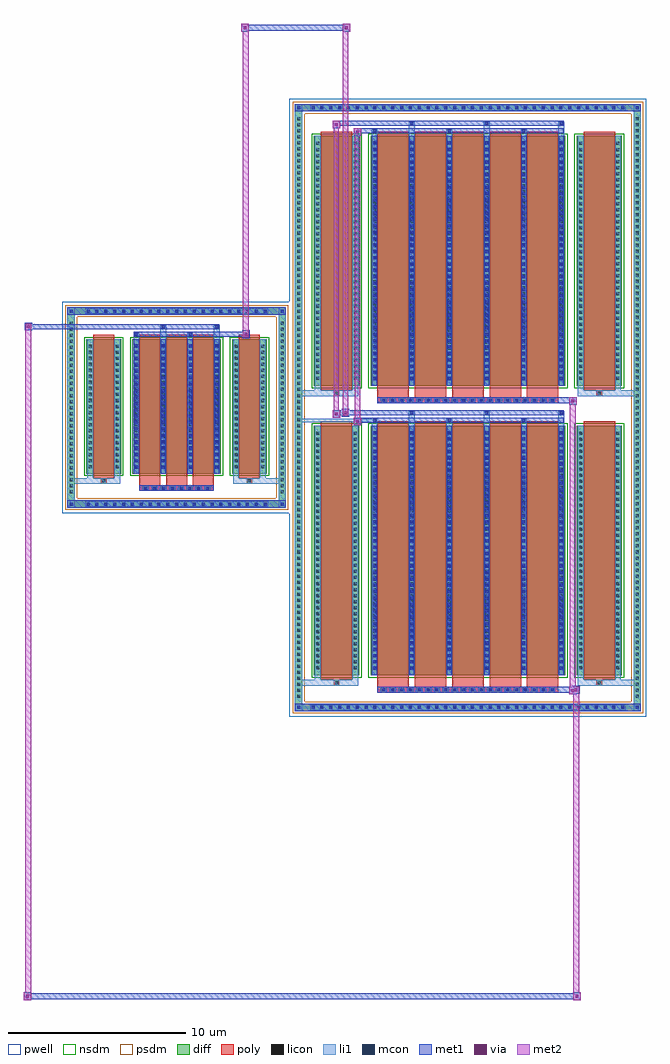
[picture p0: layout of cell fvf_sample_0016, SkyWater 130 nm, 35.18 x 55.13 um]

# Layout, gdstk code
import gdstk
lib = gdstk.Library(unit=1e-6, precision=1e-09)
def R(c, l, rs):  # rectangles x0, y0, x1, y1
    for r in rs: c.add(gdstk.rectangle(r[:2], r[2:], *l))
def A(c, l, x, y, w, h, nx, ny, dx, dy):  # array of equal rectangles
    R(c, l, [(x+i*dx, y+j*dy, x+i*dx+w, y+j*dy+h) for i in range(nx) for j in range(ny)])
def P(c, l, *ps):  # polygons
    for p in ps: c.add(gdstk.Polygon(p, *l))
pwell = (64, 44)
diff = (65, 20)
poly = (66, 20)
licon = (66, 44)
li1 = (67, 20)
mcon = (67, 44)
met1 = (68, 20)
via = (68, 44)
met2 = (69, 20)
nsdm = (93, 44)
psdm = (94, 20)

fvf_sample_0016 = lib.new_cell('fvf_sample_0016')
R(fvf_sample_0016, pwell, [(6.375,-17.456,26.535,17.456), (-6.475,-5.965,6.475,5.965)])
A(fvf_sample_0016, diff, 7.5, -17.146, 0.41, 0.41, 36, 2, 0.5, 33.882)
A(fvf_sample_0016, diff, 6.685, -16.525, 0.41, 0.41, 1, 97, 0, 0.34)
A(fvf_sample_0016, diff, 25.815, -16.525, 0.41, 0.41, 1, 97, 0, 0.34)
A(fvf_sample_0016, diff, -5.205, -5.655, 0.41, 0.41, 21, 2, 0.5, 10.9)
A(fvf_sample_0016, diff, -6.165, -4.965, 0.41, 0.41, 1, 29, 0, 0.34)
A(fvf_sample_0016, diff, 5.755, -4.965, 0.41, 0.41, 1, 29, 0, 0.34)
R(fvf_sample_0016, diff, [(7.5,-17.146,25.41,-16.736), (6.685,-16.525,7.095,16.525), (25.815,-16.525,26.225,16.525), (7.755,-15.125,10.315,-1.015), (10.955,-15.125,21.955,-1.015), (22.595,-15.125,25.155,-1.015), (-5.205,-5.655,5.205,-5.245), (-6.165,-4.965,-5.755,4.965), (5.755,-4.965,6.165,4.965), (-5.095,-3.734,-3.133,3.85), (-2.493,-3.734,2.493,3.85), (3.133,-3.734,5.095,3.85), (7.755,1.231,10.315,15.341), (10.955,1.231,21.955,15.341), (22.595,1.231,25.155,15.341), (-5.205,5.245,5.205,5.655), (7.5,16.736,25.41,17.146)])
P(fvf_sample_0016, diff, [(6.165,5.655),(-6.165,5.655),(-6.165,-5.245),(-5.755,-5.245),(-5.755,5.245),(5.755,5.245),(5.755,-5.245),(-5.755,-5.245),(-6.165,-5.245),(-6.165,-5.655),(6.165,-5.655)],
  [(26.225,17.146),(6.685,17.146),(6.685,-16.736),(7.095,-16.736),(7.095,16.736),(25.815,16.736),(25.815,-16.736),(7.095,-16.736),(6.685,-16.736),(6.685,-17.146),(26.225,-17.146)])
A(fvf_sample_0016, poly, 11.54, -16.106, 0.33, 0.33, 20, 2, 0.5, 16.356)
A(fvf_sample_0016, poly, 11.345, -15.776, 1.78, 0.401, 5, 2, 2.11, 16.356)
A(fvf_sample_0016, poly, 11.345, -15.375, 1.78, 14.61, 5, 2, 2.11, 16.356)
A(fvf_sample_0016, poly, -1.915, -4.714, 0.33, 0.33, 8, 1, 0.5, 0)
A(fvf_sample_0016, poly, -2.103, -4.384, 1.182, 0.4, 3, 1, 1.512, 0)
A(fvf_sample_0016, poly, -2.103, -3.984, 1.182, 8.084, 3, 1, 1.512, 0)
R(fvf_sample_0016, poly, [(11.345,-16.106,21.565,-15.776), (8.87,-15.705,9.2,-15.375), (8.87,-15.705,9.2,-15.375), (23.71,-15.705,24.04,-15.375), (23.71,-15.705,24.04,-15.375), (8.145,-15.375,9.925,-0.765), (22.985,-15.375,24.765,-0.765), (-2.103,-4.714,2.103,-4.384), (-4.279,-4.314,-3.949,-3.984), (-4.279,-4.314,-3.949,-3.984), (3.949,-4.314,4.279,-3.984), (3.949,-4.314,4.279,-3.984), (-4.705,-3.984,-3.523,4.1), (3.523,-3.984,4.705,4.1), (11.345,0.25,21.565,0.58), (8.87,0.651,9.2,0.981), (8.87,0.651,9.2,0.981), (23.71,0.651,24.04,0.981), (23.71,0.651,24.04,0.981), (8.145,0.981,9.925,15.591), (22.985,0.981,24.765,15.591)])
A(fvf_sample_0016, licon, 7.62, -17.026, 0.17, 0.17, 36, 2, 0.5, 33.882)
A(fvf_sample_0016, licon, 6.805, -16.405, 0.17, 0.17, 1, 97, 0, 0.34)
A(fvf_sample_0016, licon, 25.935, -16.405, 0.17, 0.17, 1, 97, 0, 0.34)
A(fvf_sample_0016, licon, 11.62, -16.026, 0.17, 0.17, 20, 2, 0.5, 16.356)
A(fvf_sample_0016, licon, 7.895, -14.785, 0.17, 0.17, 1, 40, 0, 0.34)
A(fvf_sample_0016, licon, 10.005, -14.785, 0.17, 0.17, 1, 40, 0, 0.34)
A(fvf_sample_0016, licon, 11.095, -14.785, 0.17, 0.17, 6, 40, 2.11, 0.34)
A(fvf_sample_0016, licon, 22.735, -14.785, 0.17, 0.17, 1, 40, 0, 0.34)
A(fvf_sample_0016, licon, 24.845, -14.785, 0.17, 0.17, 1, 40, 0, 0.34)
A(fvf_sample_0016, licon, -5.085, -5.535, 0.17, 0.17, 21, 2, 0.5, 10.9)
A(fvf_sample_0016, licon, -6.045, -4.845, 0.17, 0.17, 1, 29, 0, 0.34)
A(fvf_sample_0016, licon, 5.875, -4.845, 0.17, 0.17, 1, 29, 0, 0.34)
A(fvf_sample_0016, licon, -1.835, -4.634, 0.17, 0.17, 8, 1, 0.5, 0)
A(fvf_sample_0016, licon, -4.955, -3.427, 0.17, 0.17, 1, 21, 0, 0.34)
A(fvf_sample_0016, licon, -3.443, -3.427, 0.17, 0.17, 1, 21, 0, 0.34)
A(fvf_sample_0016, licon, -2.353, -3.427, 0.17, 0.17, 4, 21, 1.512, 0.34)
A(fvf_sample_0016, licon, 3.273, -3.427, 0.17, 0.17, 1, 21, 0, 0.34)
A(fvf_sample_0016, licon, 4.785, -3.427, 0.17, 0.17, 1, 21, 0, 0.34)
A(fvf_sample_0016, licon, 7.895, 1.571, 0.17, 0.17, 1, 40, 0, 0.34)
A(fvf_sample_0016, licon, 10.005, 1.571, 0.17, 0.17, 1, 40, 0, 0.34)
A(fvf_sample_0016, licon, 11.095, 1.571, 0.17, 0.17, 6, 40, 2.11, 0.34)
A(fvf_sample_0016, licon, 22.735, 1.571, 0.17, 0.17, 1, 40, 0, 0.34)
A(fvf_sample_0016, licon, 24.845, 1.571, 0.17, 0.17, 1, 40, 0, 0.34)
R(fvf_sample_0016, licon, [(8.95,-15.625,9.12,-15.455), (23.79,-15.625,23.96,-15.455), (-4.199,-4.234,-4.029,-4.064), (4.029,-4.234,4.199,-4.064), (8.95,0.731,9.12,0.901), (23.79,0.731,23.96,0.901)])
A(fvf_sample_0016, li1, 7.54, -17.106, 0.33, 0.33, 36, 2, 0.5, 33.882)
A(fvf_sample_0016, li1, 6.725, -16.485, 0.33, 0.33, 1, 97, 0, 0.34)
A(fvf_sample_0016, li1, 25.855, -16.485, 0.33, 0.33, 1, 97, 0, 0.34)
A(fvf_sample_0016, li1, 11.54, -16.106, 0.33, 0.33, 20, 2, 0.5, 16.356)
A(fvf_sample_0016, li1, 11.015, -15.125, 0.33, 14.11, 6, 2, 2.11, 16.356)
A(fvf_sample_0016, li1, 7.815, -14.865, 0.33, 0.33, 1, 40, 0, 0.34)
A(fvf_sample_0016, li1, 9.925, -14.865, 0.33, 0.33, 1, 40, 0, 0.34)
A(fvf_sample_0016, li1, 11.015, -14.865, 0.33, 0.33, 6, 40, 2.11, 0.34)
A(fvf_sample_0016, li1, 22.655, -14.865, 0.33, 0.33, 1, 40, 0, 0.34)
A(fvf_sample_0016, li1, 24.765, -14.865, 0.33, 0.33, 1, 40, 0, 0.34)
A(fvf_sample_0016, li1, 11.095, -14.815, 0.17, 0.17, 6, 38, 2.11, 0.36)
A(fvf_sample_0016, li1, 11.095, -14.815, 0.17, 13.49, 6, 2, 2.11, 16.356)
A(fvf_sample_0016, li1, -5.165, -5.615, 0.33, 0.33, 21, 2, 0.5, 10.9)
A(fvf_sample_0016, li1, -6.125, -4.925, 0.33, 0.33, 1, 29, 0, 0.34)
A(fvf_sample_0016, li1, 5.795, -4.925, 0.33, 0.33, 1, 29, 0, 0.34)
A(fvf_sample_0016, li1, -1.915, -4.714, 0.33, 0.33, 8, 1, 0.5, 0)
A(fvf_sample_0016, li1, -2.433, -3.734, 0.33, 7.584, 4, 1, 1.512, 0)
A(fvf_sample_0016, li1, -5.035, -3.507, 0.33, 0.33, 1, 21, 0, 0.34)
A(fvf_sample_0016, li1, -3.523, -3.507, 0.33, 0.33, 1, 21, 0, 0.34)
A(fvf_sample_0016, li1, -2.433, -3.507, 0.33, 0.33, 4, 21, 1.512, 0.34)
A(fvf_sample_0016, li1, 3.193, -3.507, 0.33, 0.33, 1, 21, 0, 0.34)
A(fvf_sample_0016, li1, 4.705, -3.507, 0.33, 0.33, 1, 21, 0, 0.34)
A(fvf_sample_0016, li1, -2.353, -3.447, 0.17, 0.17, 4, 20, 1.512, 0.36)
A(fvf_sample_0016, li1, -2.353, -3.447, 0.17, 7.01, 4, 1, 1.512, 0)
A(fvf_sample_0016, li1, 11.015, -1.015, 0.33, 0.375, 3, 2, 4.22, 16.356)
A(fvf_sample_0016, li1, 13.125, -1.015, 0.33, 0.805, 3, 2, 4.22, 16.356)
A(fvf_sample_0016, li1, 11.095, -0.81, 0.17, 0.17, 3, 2, 4.22, 16.356)
A(fvf_sample_0016, li1, 13.205, -0.38, 0.17, 0.17, 3, 2, 4.22, 16.356)
A(fvf_sample_0016, li1, 7.815, 1.491, 0.33, 0.33, 1, 40, 0, 0.34)
A(fvf_sample_0016, li1, 9.925, 1.491, 0.33, 0.33, 1, 40, 0, 0.34)
A(fvf_sample_0016, li1, 11.015, 1.491, 0.33, 0.33, 6, 40, 2.11, 0.34)
A(fvf_sample_0016, li1, 22.655, 1.491, 0.33, 0.33, 1, 40, 0, 0.34)
A(fvf_sample_0016, li1, 24.765, 1.491, 0.33, 0.33, 1, 40, 0, 0.34)
A(fvf_sample_0016, li1, 11.095, 1.541, 0.17, 0.17, 6, 38, 2.11, 0.36)
R(fvf_sample_0016, li1, [(6.685,-17.146,7.095,-16.736), (25.815,-17.146,26.225,-16.736), (7.54,-17.106,25.37,-16.776), (6.805,-17.026,6.975,-16.856), (6.805,-17.026,6.975,-16.856), (25.935,-17.026,26.105,-16.856), (25.935,-17.026,26.105,-16.856), (6.685,-16.736,7.095,16.736), (25.815,-16.736,26.225,16.736), (6.685,-15.705,8.87,-15.375), (7.815,-15.705,8.145,-15.125), (7.815,-15.705,8.87,-15.375), (8.87,-15.705,9.2,-15.375), (9.2,-15.705,10.255,-15.375), (9.925,-15.705,10.255,-15.125), (22.655,-15.705,22.985,-15.125), (22.655,-15.705,23.71,-15.375), (23.71,-15.705,24.04,-15.375), (23.71,-15.705,26.225,-15.375), (24.04,-15.705,25.095,-15.375), (24.765,-15.705,25.095,-15.125), (7.815,-15.125,8.145,-1.015), (9.925,-15.125,10.255,-1.015), (22.655,-15.125,22.985,-1.015), (24.765,-15.125,25.095,-1.015), (-6.165,-5.655,-5.755,-5.245), (5.755,-5.655,6.165,-5.245), (-5.165,-5.615,5.165,-5.285), (-6.045,-5.535,-5.875,-5.365), (-6.045,-5.535,-5.875,-5.365), (5.875,-5.535,6.045,-5.365), (5.875,-5.535,6.045,-5.365), (-6.165,-5.245,-5.755,5.245), (5.755,-5.245,6.165,5.245), (-6.165,-4.314,-4.279,-3.984), (-5.035,-4.314,-4.279,-3.984), (-5.035,-4.314,-4.705,-3.734), (-4.279,-4.314,-3.949,-3.984), (-3.949,-4.314,-3.193,-3.984), (-3.523,-4.314,-3.193,-3.734), (3.193,-4.314,3.949,-3.984), (3.193,-4.314,3.523,-3.734), (3.949,-4.314,4.279,-3.984), (3.949,-4.314,6.165,-3.984), (4.279,-4.314,5.035,-3.984), (4.705,-4.314,5.035,-3.734), (-5.035,-3.734,-4.705,3.85), (-3.523,-3.734,-3.193,3.85), (3.193,-3.734,3.523,3.85), (4.705,-3.734,5.035,3.85), (11.035,-0.87,11.325,-0.58), (6.685,-0.825,11.035,-0.625), (11.095,-0.81,11.265,-0.64), (6.685,0.651,8.87,0.981), (7.815,0.651,8.145,1.231), (7.815,0.651,8.87,0.981), (8.87,0.651,9.2,0.981), (9.2,0.651,10.255,0.981), (9.925,0.651,10.255,1.231), (22.655,0.651,22.985,1.231), (22.655,0.651,23.71,0.981), (23.71,0.651,24.04,0.981), (23.71,0.651,26.225,0.981), (24.04,0.651,25.095,0.981), (24.765,0.651,25.095,1.231), (7.815,1.231,8.145,15.341), (9.925,1.231,10.255,15.341), (22.655,1.231,22.985,15.341), (24.765,1.231,25.095,15.341), (-2.433,3.85,-2.103,4.225), (-0.921,3.85,-0.591,4.655), (0.591,3.85,0.921,4.225), (2.103,3.85,2.433,4.655), (-2.353,4.055,-2.183,4.225), (0.671,4.055,0.841,4.225), (-0.841,4.485,-0.671,4.655), (2.183,4.485,2.353,4.655), (-6.165,5.245,-5.755,5.655), (5.755,5.245,6.165,5.655), (-5.165,5.285,5.165,5.615), (-6.045,5.365,-5.875,5.535), (-6.045,5.365,-5.875,5.535), (5.875,5.365,6.045,5.535), (5.875,5.365,6.045,5.535), (6.685,16.736,7.095,17.146), (25.815,16.736,26.225,17.146), (7.54,16.776,25.37,17.106), (6.805,16.856,6.975,17.026), (6.805,16.856,6.975,17.026), (25.935,16.856,26.105,17.026), (25.935,16.856,26.105,17.026)])
A(fvf_sample_0016, mcon, 7.62, -17.026, 0.17, 0.17, 36, 2, 0.5, 33.882)
A(fvf_sample_0016, mcon, 11.62, -16.026, 0.17, 0.17, 20, 2, 0.5, 16.356)
A(fvf_sample_0016, mcon, 11.095, -14.815, 0.17, 0.17, 6, 38, 2.11, 0.36)
A(fvf_sample_0016, mcon, -5.085, -5.535, 0.17, 0.17, 21, 2, 0.5, 10.9)
A(fvf_sample_0016, mcon, -1.835, -4.634, 0.17, 0.17, 8, 1, 0.5, 0)
A(fvf_sample_0016, mcon, -2.353, -3.447, 0.17, 0.17, 4, 20, 1.512, 0.36)
A(fvf_sample_0016, mcon, 11.095, -0.81, 0.17, 0.17, 3, 2, 4.22, 16.356)
A(fvf_sample_0016, mcon, 13.205, -0.38, 0.17, 0.17, 3, 2, 4.22, 16.356)
A(fvf_sample_0016, mcon, 11.095, 1.541, 0.17, 0.17, 6, 38, 2.11, 0.36)
R(fvf_sample_0016, mcon, [(6.805,-17.026,6.975,-16.856), (25.935,-17.026,26.105,-16.856), (-6.045,-5.535,-5.875,-5.365), (5.875,-5.535,6.045,-5.365), (11.095,-0.81,11.265,-0.64), (-2.353,4.055,-2.183,4.225), (0.671,4.055,0.841,4.225), (-0.841,4.485,-0.671,4.655), (2.183,4.485,2.353,4.655), (-6.045,5.365,-5.875,5.535), (5.875,5.365,6.045,5.535), (6.805,16.856,6.975,17.026), (25.935,16.856,26.105,17.026)])
A(fvf_sample_0016, met1, 7.56, -17.086, 0.29, 0.29, 36, 2, 0.5, 33.882)
A(fvf_sample_0016, met1, 11.56, -16.086, 0.29, 0.29, 20, 2, 0.5, 16.356)
A(fvf_sample_0016, met1, 11.035, -15.125, 0.29, 14.11, 6, 2, 2.11, 16.356)
A(fvf_sample_0016, met1, 11.035, -14.875, 0.29, 0.29, 6, 38, 2.11, 0.36)
A(fvf_sample_0016, met1, -5.145, -5.595, 0.29, 0.29, 21, 2, 0.5, 10.9)
A(fvf_sample_0016, met1, -1.895, -4.694, 0.29, 0.29, 8, 1, 0.5, 0)
A(fvf_sample_0016, met1, -2.413, -3.734, 0.29, 7.584, 4, 1, 1.512, 0)
A(fvf_sample_0016, met1, -2.413, -3.507, 0.29, 0.29, 4, 20, 1.512, 0.36)
A(fvf_sample_0016, met1, 11.035, -0.87, 0.29, 0.29, 3, 2, 4.22, 16.356)
A(fvf_sample_0016, met1, 13.145, -0.44, 0.29, 0.29, 3, 2, 4.22, 16.356)
A(fvf_sample_0016, met1, 11.035, 1.481, 0.29, 0.29, 6, 38, 2.11, 0.36)
R(fvf_sample_0016, met1, [(-8.643,-33.467,-8.213,-33.037), (22.4,-33.467,22.83,-33.037), (-8.643,-33.417,22.83,-33.087), (-8.643,-33.087,-8.213,-33.037), (22.4,-33.087,22.83,-33.037), (6.685,-17.146,7.095,-16.736), (6.685,-17.146,7.095,-16.736), (7.095,-17.146,25.815,-16.736), (25.815,-17.146,26.225,-16.736), (25.815,-17.146,26.225,-16.736), (6.745,-17.086,7.035,-16.796), (25.875,-17.086,26.165,-16.796), (22.165,-16.206,22.595,-15.776), (22.35,-16.156,22.78,-15.726), (11.345,-16.106,21.565,-15.776), (21.565,-16.106,22.35,-15.776), (21.565,-16.106,22.595,-15.776), (-6.165,-5.655,-5.755,-5.245), (-6.165,-5.655,-5.755,-5.245), (-5.755,-5.655,5.755,-5.245), (5.755,-5.655,6.165,-5.245), (5.755,-5.655,6.165,-5.245), (-6.105,-5.595,-5.815,-5.305), (5.815,-5.595,6.105,-5.305), (-2.103,-4.714,2.103,-4.384), (10.005,-1.01,10.435,-0.58), (10.005,-0.87,11.035,-0.58), (11.035,-0.87,11.325,-0.58), (11.035,-0.87,21.875,-0.58), (8.805,-0.58,9.235,-0.15), (9.32,-0.51,9.75,-0.08), (8.805,-0.44,11.035,-0.15), (9.75,-0.44,11.035,-0.15), (11.035,-0.44,21.875,-0.15), (22.165,0.15,22.595,0.58), (11.345,0.25,21.565,0.58), (21.565,0.25,22.595,0.58), (3.698,3.925,4.128,4.355), (-2.413,3.995,-2.123,4.285), (-2.413,3.995,2.413,4.285), (0.611,3.995,0.901,4.285), (2.413,3.995,3.698,4.285), (-8.593,4.355,-8.163,4.785), (-8.163,4.425,-2.413,4.715), (-2.413,4.425,2.413,4.715), (-0.901,4.425,-0.611,4.715), (2.123,4.425,2.413,4.715), (-6.165,5.245,-5.755,5.655), (-6.165,5.245,-5.755,5.655), (-5.755,5.245,5.755,5.655), (5.755,5.245,6.165,5.655), (5.755,5.245,6.165,5.655), (-6.105,5.305,-5.815,5.595), (5.815,5.305,6.105,5.595), (10.005,15.346,10.435,15.776), (10.005,15.486,11.035,15.776), (11.035,15.486,21.875,15.776), (8.805,15.776,9.235,16.206), (8.805,15.916,11.035,16.206), (11.035,15.916,21.875,16.206), (6.685,16.736,7.095,17.146), (6.685,16.736,7.095,17.146), (7.095,16.736,25.815,17.146), (25.815,16.736,26.225,17.146), (25.815,16.736,26.225,17.146), (6.745,16.796,7.035,17.086), (25.875,16.796,26.165,17.086), (3.648,21.236,4.078,21.666), (9.37,21.236,9.8,21.666), (3.648,21.286,9.8,21.616), (3.648,21.616,4.078,21.666), (9.37,21.616,9.8,21.666)])
R(fvf_sample_0016, via, [(-8.503,-33.327,-8.353,-33.177), (22.54,-33.327,22.69,-33.177), (22.305,-16.066,22.455,-15.916), (22.49,-16.016,22.64,-15.866), (10.145,-0.87,10.295,-0.72), (8.945,-0.44,9.095,-0.29), (9.46,-0.37,9.61,-0.22), (22.305,0.29,22.455,0.44), (3.838,4.065,3.988,4.215), (-8.453,4.495,-8.303,4.645), (10.145,15.486,10.295,15.636), (8.945,15.916,9.095,16.066), (3.788,21.376,3.938,21.526), (9.51,21.376,9.66,21.526)])
R(fvf_sample_0016, met2, [(-8.643,-33.467,-8.213,-33.037), (-8.543,-33.467,-8.213,4.405), (22.4,-33.467,22.83,-33.037), (22.4,-33.467,22.73,-16.106), (-8.593,-33.417,-8.263,-33.087), (22.45,-33.417,22.78,-33.087), (22.165,-16.206,22.595,-15.776), (22.215,-16.206,22.545,0.58), (22.545,-16.206,22.595,-15.776), (22.215,-16.156,22.545,-15.826), (22.4,-16.106,22.73,-15.776), (10.005,-1.01,10.435,-0.58), (10.075,-1.01,10.365,15.776), (10.365,-1.01,10.435,-0.58), (10.055,-0.96,10.385,-0.63), (8.805,-0.58,9.235,-0.15), (8.875,-0.58,9.165,16.206), (9.165,-0.58,9.235,-0.15), (8.855,-0.53,9.185,-0.2), (9.37,-0.46,9.7,-0.13), (9.37,-0.13,9.7,21.666), (22.165,0.15,22.595,0.58), (22.545,0.15,22.595,0.58), (22.215,0.2,22.545,0.53), (3.748,3.975,4.078,4.305), (3.748,4.305,4.078,21.666), (-8.543,4.405,-8.213,4.735), (10.005,15.346,10.435,15.776), (10.365,15.346,10.435,15.776), (10.055,15.396,10.385,15.726), (8.805,15.776,9.235,16.206), (9.165,15.776,9.235,16.206), (8.855,15.826,9.185,16.156), (3.648,21.236,4.078,21.666), (9.37,21.236,9.8,21.666), (3.698,21.286,4.028,21.616), (9.42,21.286,9.75,21.616)])
R(fvf_sample_0016, nsdm, [(7.625,-15.255,10.445,-0.885), (10.825,-15.255,22.085,-0.885), (22.465,-15.255,25.285,-0.885), (-5.225,-3.864,-3.003,3.98), (-2.623,-3.864,2.623,3.98), (3.003,-3.864,5.225,3.98), (7.625,1.101,10.445,15.471), (10.825,1.101,22.085,15.471), (22.465,1.101,25.285,15.471)])
P(fvf_sample_0016, psdm, [(6.295,5.785),(-6.295,5.785),(-6.295,-5.115),(-5.625,-5.115),(-5.625,5.115),(5.625,5.115),(5.625,-5.115),(-5.625,-5.115),(-6.295,-5.115),(-6.295,-5.785),(6.295,-5.785)],
  [(26.355,17.276),(6.555,17.276),(6.555,-16.606),(7.225,-16.606),(7.225,16.606),(25.685,16.606),(25.685,-16.606),(7.225,-16.606),(6.555,-16.606),(6.555,-17.276),(26.355,-17.276)])

lib.write_gds('fvf_sample_0016.gds')
